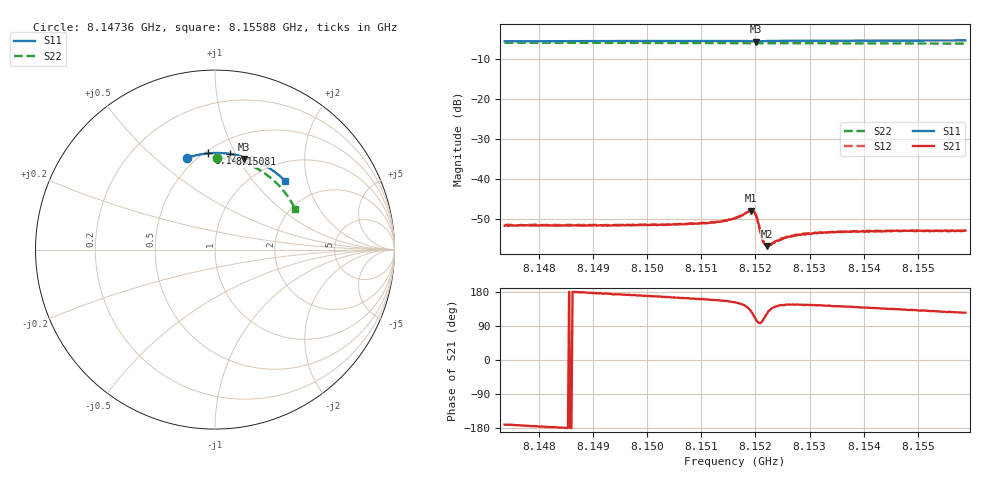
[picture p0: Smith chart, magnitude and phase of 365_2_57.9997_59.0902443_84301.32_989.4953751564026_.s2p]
#  HZ  S  RI  R  50.00
! Rohde & Schwarz Vector Network Analyzer
! Rohde-Schwarz,ZNB20-2Port,1311601062101988,3.16
! Created: UTC 3/21/2024, 1:06:41 AM
! freq[Hz]  re:S11  im:S11  re:S21  im:S21  re:S12  im:S12  re:S22  im:S22
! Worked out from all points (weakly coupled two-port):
!   401 points, 8.14736 GHz to 8.15588 GHz, reference 50 ohm
!   highest |S21| = -47.88 dB at 8.15192 GHz (marker M1); lowest = -56.8 dB at 8.15222 GHz (marker M2)
!   lowest |S11| = -5.5 dB at 8.152 GHz (marker M3), VSWR 3.25, Z = 37.4 + j52.6 ohm
!   |S11| at or under -10 dB: nowhere
!   |S22| runs from -6.0 to -5.8 dB; largest |S21 - S12| = 0.00013
!   S11 on the Smith chart (normalised r, x): 8.14736 GHz: 0.45, +0.64; 8.14909 GHz: 0.52, +0.79; 8.15081 GHz: 0.63, +0.95; 8.15588 GHz: 1.35, +1.48
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8.14736e9  -0.154 0.5116  -0.00257 -0.000425  -0.00263 -0.000418  0.013 0.5129
8.148787e9  -0.0569 0.5339  -0.00262 4.51e-05  -0.00266 0.000124  0.105 0.5005
8.149085e9  -0.0364 0.5362  -0.00262 0.000183  -0.00264 0.000198  0.1237 0.4957
8.150215e9  0.0424 0.5377  -0.00262 0.000557  -0.00259 0.000627  0.1924 0.4716
8.150811e9  0.0838 0.5337  -0.00261 0.000855  -0.00265 0.000875  0.2271 0.4551
8.151259e9  0.1151 0.5285  -0.00268 0.00108  -0.00266 0.00112  0.2519 0.4411
8.151621e9  0.1408 0.522  -0.00284 0.0015  -0.00284 0.00158  0.2714 0.4285
8.151919e9  0.1609 0.509  -0.00249 0.00318  -0.00246 0.00323  0.2867 0.4173
8.151962e9  0.1612 0.5062  -0.00187 0.00347  -0.00185 0.00354  0.289 0.4158
8.152004e9  0.1601 0.5051  -0.00105 0.0034  -0.00102 0.00345  0.291 0.4141
8.152047e9  0.1595 0.5062  -0.00047 0.00286  -0.000435 0.00288  0.2931 0.4127
8.152132e9  0.1638 0.5101  -0.000409 0.00169  -0.000398 0.00171  0.2974 0.4098
8.152175e9  0.1673 0.5108  -0.000598 0.0014  -0.000596 0.00141  0.2995 0.4081
8.152217e9  0.1708 0.5111  -0.000788 0.00121  -0.000784 0.00124  0.3018 0.4063
8.152281e9  0.1762 0.5106  -0.00103 0.00108  -0.00104 0.00108  0.305 0.404
8.152494e9  0.192 0.5068  -0.00146 0.00101  -0.00149 0.00104  0.3155 0.3955
8.152622e9  0.2009 0.5038  -0.00157 0.00105  -0.0016 0.0011  0.3217 0.3902
8.152878e9  0.2181 0.4975  -0.00171 0.00116  -0.00168 0.00116  0.3338 0.3794
8.153048e9  0.2291 0.4928  -0.0017 0.0012  -0.0017 0.00122  0.3417 0.372
8.153794e9  0.2756 0.4698  -0.0017 0.0014  -0.00168 0.00144  0.3737 0.3377
8.154476e9  0.3157 0.4449  -0.00156 0.00159  -0.00158 0.00161  0.4002 0.3041
8.155882e9  0.3906 0.3836  -0.00129 0.00187  -0.00129 0.00189  0.4447 0.2287
